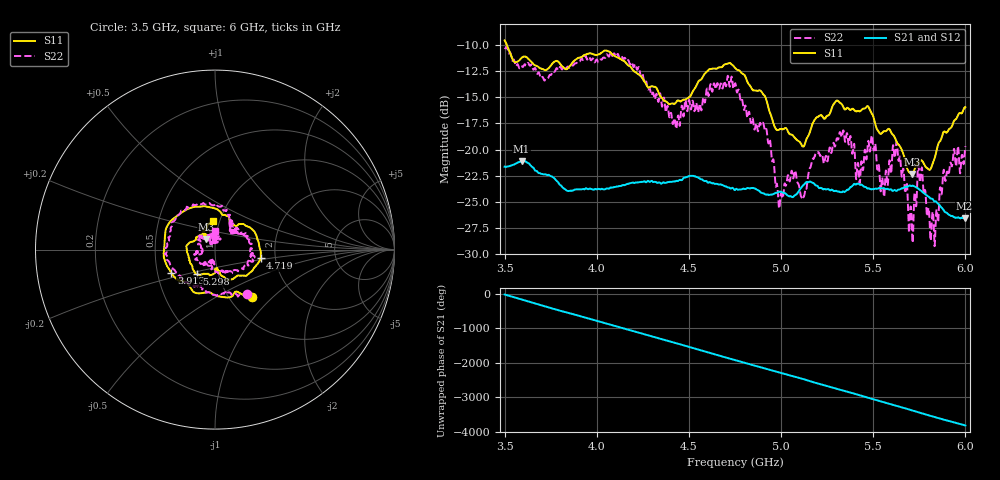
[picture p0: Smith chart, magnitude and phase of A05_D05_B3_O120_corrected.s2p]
! Created with skrf 1.9.0 (http://scikit-rf.org).
# Hz S RI R 50.0
!freq ReS11 ImS11 ReS21 ImS21 ReS12 ImS12 ReS22 ImS22
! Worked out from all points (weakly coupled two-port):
!   1601 points, 3.5 GHz to 6 GHz, reference 50 ohm
!   highest |S21| = -21.09 dB at 3.592 GHz (marker M1); lowest = -26.6 dB at 5.995 GHz (marker M2)
!   lowest |S11| = -22.3 dB at 5.711 GHz (marker M3), VSWR 1.17, Z = 45 + j5.3 ohm
!   |S11| at or under -10 dB: 3.512 GHz to end of sweep
!   |S22| runs from -29.2 to -10.2 dB; largest |S21 - S12| = 0.001
!   S11 on the Smith chart (normalised r, x): 3.5 GHz: 1.27, -0.75; 3.913 GHz: 0.59, -0.17; 4.719 GHz: 1.67, -0.17; 5.298 GHz: 0.79, -0.22; 6 GHz: 0.93, +0.30
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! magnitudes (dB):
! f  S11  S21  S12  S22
! 3.5 GHz  -9.6  -21.6  -21.6  -10.3
! 3.592 GHz  -11.2  -21.1  -21.1  -12.0
! 3.913 GHz  -11.2  -23.8  -23.8  -11.4
! 3.917 GHz  -11.2  -23.8  -23.8  -11.3
! 4.334 GHz  -14.5  -23.1  -23.1  -15.5
! 4.439 GHz  -15.3  -23.0  -23.0  -16.9
! 4.719 GHz  -11.7  -23.6  -23.7  -13.8
! 4.75 GHz  -12.2  -23.9  -23.8  -13.7
! 4.912 GHz  -14.9  -24.3  -24.2  -18.1
! 4.997 GHz  -18.0  -24.0  -24.0  -24.4
! 5.067 GHz  -18.7  -24.5  -24.5  -22.7
! 5.119 GHz  -19.7  -23.4  -23.4  -24.7
! 5.167 GHz  -17.7  -23.2  -23.1  -21.1
! 5.298 GHz  -15.4  -23.9  -23.9  -19.2
! 5.584 GHz  -18.0  -23.8  -23.8  -21.7
! 5.634 GHz  -19.5  -23.8  -23.8  -20.7
! 5.711 GHz  -22.3  -23.5  -23.4  -28.1
! 5.755 GHz  -21.1  -23.9  -23.8  -23.1
! 5.823 GHz  -21.3  -24.8  -24.8  -25.9
! 5.889 GHz  -18.3  -26.0  -25.9  -22.8
! 5.995 GHz  -16.0  -26.6  -26.5  -20.6
! 6 GHz  -16.0  -26.6  -26.5  -19.7
